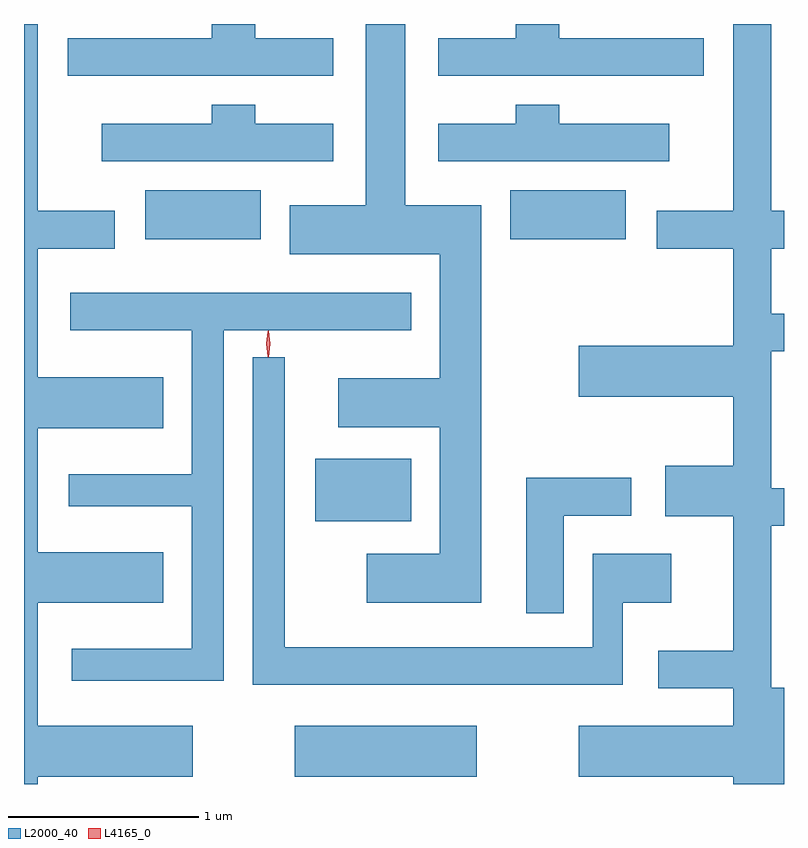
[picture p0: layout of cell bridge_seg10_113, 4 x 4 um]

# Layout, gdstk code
import gdstk
lib = gdstk.Library(unit=1e-6, precision=1e-09)
def R(c, l, rs):  # rectangles x0, y0, x1, y1
    for r in rs: c.add(gdstk.rectangle(r[:2], r[2:], *l))
def P(c, l, *ps):  # polygons
    for p in ps: c.add(gdstk.Polygon(p, *l))
L2000_40 = (2000, 40)
L4165_0 = (4165, 0)

bridge_seg10_113 = lib.new_cell('bridge_seg10_113')
R(bridge_seg10_113, L2000_40, [(1634.981,2139.966,1635.939,2140.234), (1635.091,2141.311,1635.594,2141.639), (1634.196,2142.796,1634.804,2143.054), (1636.116,2142.796,1636.724,2143.054)])
P(bridge_seg10_113, L2000_40, [(1635.964,2142.974),(1635.564,2142.974),(1635.564,2143.928),(1635.356,2143.928),(1635.356,2142.974),(1634.956,2142.974),(1634.956,2142.716),(1635.746,2142.716),(1635.746,2142.064),(1635.211,2142.064),(1635.211,2141.806),(1635.746,2141.806),(1635.746,2141.139),(1635.361,2141.139),(1635.361,2140.881),(1635.964,2140.881)],
  [(1633.629,2139.966),(1634.444,2139.966),(1634.444,2140.234),(1633.629,2140.234),(1633.629,2140.881),(1634.289,2140.881),(1634.289,2141.149),(1633.629,2141.149),(1633.629,2141.801),(1634.289,2141.801),(1634.289,2142.069),(1633.629,2142.069),(1633.629,2142.746),(1634.034,2142.746),(1634.034,2142.944),(1633.629,2142.944),(1633.629,2143.928),(1633.557,2143.928),(1633.557,2139.928),(1633.629,2139.928)],
  [(1635.184,2143.854),(1634.774,2143.854),(1634.774,2143.928),(1634.546,2143.928),(1634.546,2143.854),(1633.786,2143.854),(1633.786,2143.656),(1635.184,2143.656)],
  [(1637.134,2143.854),(1636.374,2143.854),(1636.374,2143.928),(1636.146,2143.928),(1636.146,2143.854),(1635.736,2143.854),(1635.736,2143.656),(1637.134,2143.656)],
  [(1636.476,2142.234),(1636.476,2141.966),(1637.291,2141.966),(1637.291,2141.604),(1636.931,2141.604),(1636.931,2141.336),(1637.291,2141.336),(1637.291,2140.629),(1636.896,2140.629),(1636.896,2140.431),(1637.291,2140.431),(1637.291,2140.234),(1636.476,2140.234),(1636.476,2139.966),(1637.291,2139.966),(1637.291,2139.928),(1637.557,2139.928),(1637.557,2140.434),(1637.489,2140.434),(1637.489,2141.286),(1637.557,2141.286),(1637.557,2141.484),(1637.489,2141.484),(1637.489,2142.206),(1637.557,2142.206),(1637.557,2142.404),(1637.489,2142.404),(1637.489,2142.746),(1637.557,2142.746),(1637.557,2142.944),(1637.489,2142.944),(1637.489,2143.928),(1637.291,2143.928),(1637.291,2142.944),(1636.886,2142.944),(1636.886,2142.746),(1637.291,2142.746),(1637.291,2142.234)],
  [(1635.184,2143.404),(1634.774,2143.404),(1634.774,2143.504),(1634.546,2143.504),(1634.546,2143.404),(1633.966,2143.404),(1633.966,2143.206),(1635.184,2143.206)],
  [(1636.954,2143.404),(1636.374,2143.404),(1636.374,2143.504),(1636.146,2143.504),(1636.146,2143.404),(1635.736,2143.404),(1635.736,2143.206),(1636.954,2143.206)],
  [(1634.609,2142.316),(1635.594,2142.316),(1635.594,2142.514),(1633.801,2142.514),(1633.801,2142.316),(1634.441,2142.316),(1634.441,2141.559),(1633.793,2141.559),(1633.793,2141.391),(1634.441,2141.391),(1634.441,2140.639),(1633.808,2140.639),(1633.808,2140.471),(1634.609,2140.471)],
  [(1636.709,2140.881),(1636.964,2140.881),(1636.964,2141.139),(1636.551,2141.139),(1636.551,2140.649),(1634.929,2140.649),(1634.929,2142.173),(1634.761,2142.173),(1634.761,2140.451),(1636.709,2140.451)],
  [(1636.399,2141.341),(1636.754,2141.341),(1636.754,2141.539),(1636.201,2141.539),(1636.201,2140.826),(1636.399,2140.826)])
P(bridge_seg10_113, L4165_0, [(1634.843,2142.174),(1634.843,2142.175),(1634.833,2142.244),(1634.843,2142.313),(1634.843,2142.314),(1634.844,2142.313),(1634.853,2142.244),(1634.844,2142.175)],
  [(1634.841,2142.178),(1634.841,2142.178),(1634.831,2142.244),(1634.84,2142.31),(1634.841,2142.311),(1634.841,2142.31),(1634.851,2142.244),(1634.842,2142.178)])

lib.write_gds('bridge_seg10_113.gds')
